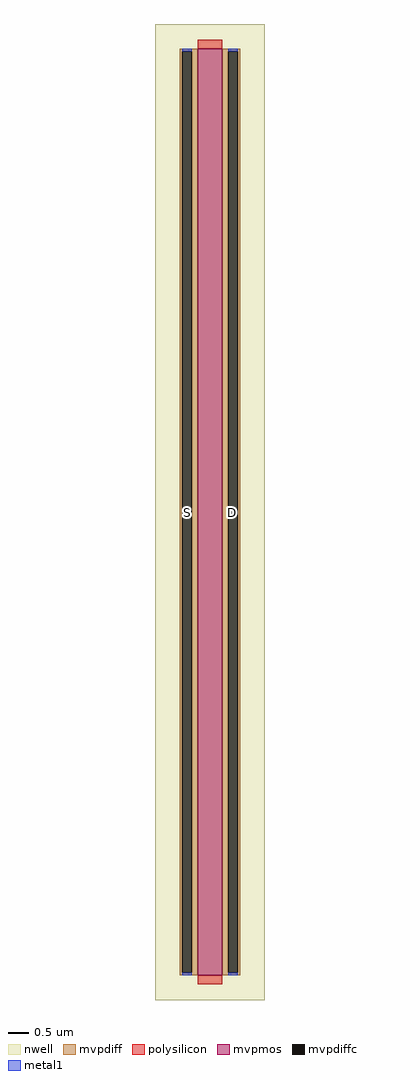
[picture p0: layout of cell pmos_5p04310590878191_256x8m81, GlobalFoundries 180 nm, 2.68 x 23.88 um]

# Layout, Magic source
magic
tech gf180mcuC
magscale 1 10
<< nwell >>
rect -208 -120 328 4656
<< mvpmos >>
rect 0 0 120 4536
<< mvpdiff >>
rect -88 4523 0 4536
rect -88 13 -75 4523
rect -29 13 0 4523
rect -88 0 0 13
rect 120 4523 208 4536
rect 120 13 149 4523
rect 195 13 208 4523
rect 120 0 208 13
<< mvpdiffc >>
rect -75 13 -29 4523
rect 149 13 195 4523
<< polysilicon >>
rect 0 4536 120 4580
rect 0 -44 120 0
<< metal1 >>
rect -75 4523 -29 4536
rect -75 0 -29 13
rect 149 4523 195 4536
rect 149 0 195 13
<< labels >>
flabel metal1 s -52 2268 -52 2268 0 FreeSans 400 0 0 0 S
flabel metal1 s 172 2268 172 2268 0 FreeSans 400 0 0 0 D
<< properties >>
string GDS_END 405462
string GDS_FILE $PDKPATH/libs.ref/gf180mcu_fd_ip_sram/gds/gf180mcu_fd_ip_sram__sram256x8m8wm1.gds
string GDS_START 398742
<< end >>
